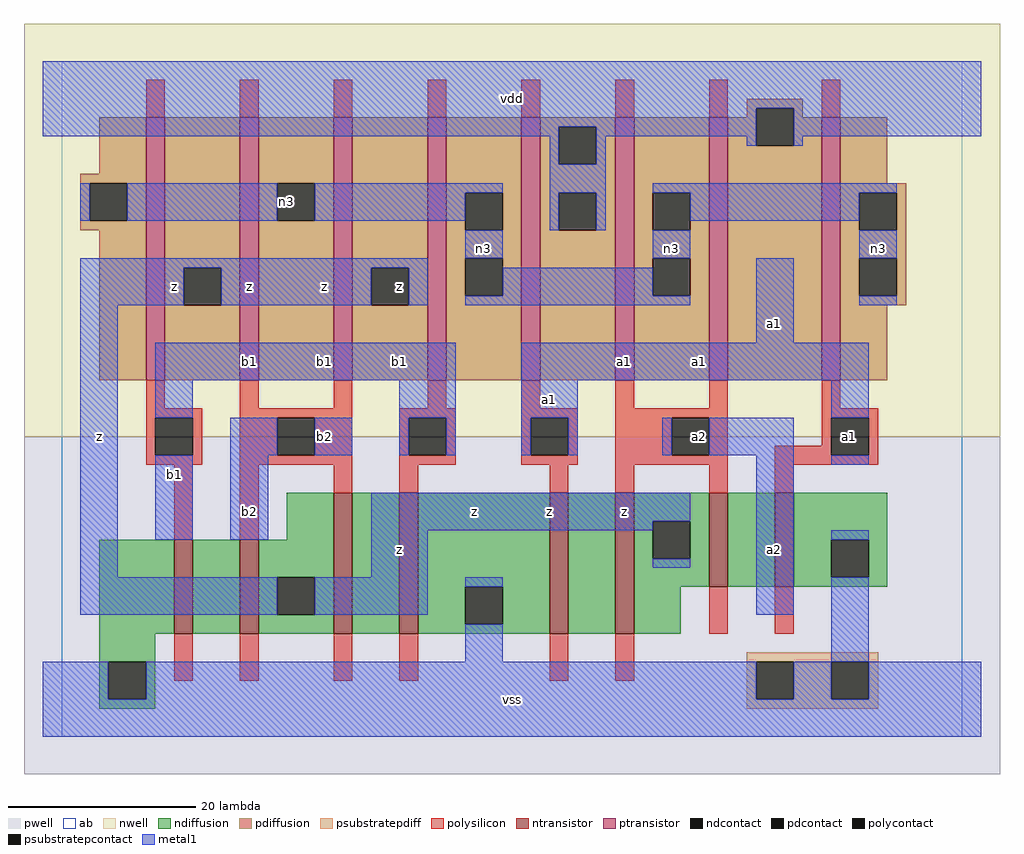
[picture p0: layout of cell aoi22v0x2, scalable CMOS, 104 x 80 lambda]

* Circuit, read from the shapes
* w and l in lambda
.subckt aoi22v0x2 a1 a2 b1 b2 n3 vdd vss z
M1 n1 b1 vss vss nfet w=10 l=2
M2 z b2 n1 vss nfet w=10 l=2
M3 n2 b2 z vss nfet w=15 l=2
M4 vss b1 n2 vss nfet w=15 l=2
M5 n4 a1 vss vss nfet w=15 l=2
M6 z a2 n4 vss nfet w=15 l=2
M7 n5 a2 z vss nfet w=10 l=2
M8 vss a1 n5 vss nfet w=10 l=2
M9 z b1 n3 n6 pfet w=28 l=2 m=2
M10 n3 b2 z n6 pfet w=28 l=2 m=2
M11 vdd a1 n3 n6 pfet w=28 l=2 m=2
M12 n3 a2 vdd n6 pfet w=28 l=2 m=2
.ends

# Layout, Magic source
magic
tech scmos
<< ab >>
rect 0 0 96 72
<< pwell >>
rect -4 -4 100 32
<< nwell >>
rect -4 32 100 76
<< polysilicon >>
rect 9 66 11 70
rect 19 66 21 70
rect 29 66 31 70
rect 39 66 41 70
rect 49 66 51 70
rect 59 66 61 70
rect 69 66 71 70
rect 81 66 83 70
rect 9 35 11 38
rect 19 35 21 38
rect 29 35 31 38
rect 39 35 41 38
rect 49 35 51 38
rect 59 35 61 38
rect 69 35 71 38
rect 9 34 15 35
rect 9 30 10 34
rect 14 30 15 34
rect 9 29 15 30
rect 19 34 31 35
rect 19 30 23 34
rect 27 30 31 34
rect 19 29 31 30
rect 12 21 14 29
rect 19 21 21 29
rect 29 26 31 29
rect 36 34 42 35
rect 36 30 37 34
rect 41 30 42 34
rect 36 29 42 30
rect 49 34 55 35
rect 49 30 50 34
rect 54 30 55 34
rect 49 29 55 30
rect 59 34 71 35
rect 59 30 65 34
rect 69 30 71 34
rect 81 35 83 38
rect 81 34 87 35
rect 81 31 82 34
rect 59 29 71 30
rect 36 26 38 29
rect 52 26 54 29
rect 59 26 61 29
rect 69 26 71 29
rect 76 30 82 31
rect 86 30 87 34
rect 76 29 87 30
rect 76 26 78 29
rect 69 11 71 16
rect 76 11 78 16
rect 12 6 14 11
rect 19 6 21 11
rect 29 6 31 11
rect 36 6 38 11
rect 52 6 54 11
rect 59 6 61 11
<< ndiffusion >>
rect 24 21 29 26
rect 4 11 12 21
rect 14 11 19 21
rect 21 17 29 21
rect 21 13 23 17
rect 27 13 29 17
rect 21 11 29 13
rect 31 11 36 26
rect 38 16 52 26
rect 38 12 43 16
rect 47 12 52 16
rect 38 11 52 12
rect 54 11 59 26
rect 61 23 69 26
rect 61 19 63 23
rect 67 19 69 23
rect 61 16 69 19
rect 71 16 76 26
rect 78 21 88 26
rect 78 17 82 21
rect 86 17 88 21
rect 78 16 88 17
rect 61 11 66 16
rect 4 8 10 11
rect 4 4 5 8
rect 9 4 10 8
rect 4 3 10 4
<< pdiffusion >>
rect 73 67 79 68
rect 73 66 74 67
rect 4 60 9 66
rect 2 59 9 60
rect 2 55 3 59
rect 7 55 9 59
rect 2 54 9 55
rect 4 38 9 54
rect 11 50 19 66
rect 11 46 13 50
rect 17 46 19 50
rect 11 38 19 46
rect 21 59 29 66
rect 21 55 23 59
rect 27 55 29 59
rect 21 38 29 55
rect 31 50 39 66
rect 31 46 33 50
rect 37 46 39 50
rect 31 38 39 46
rect 41 58 49 66
rect 41 54 43 58
rect 47 54 49 58
rect 41 51 49 54
rect 41 47 43 51
rect 47 47 49 51
rect 41 38 49 47
rect 51 65 59 66
rect 51 61 53 65
rect 57 61 59 65
rect 51 58 59 61
rect 51 54 53 58
rect 57 54 59 58
rect 51 38 59 54
rect 61 58 69 66
rect 61 54 63 58
rect 67 54 69 58
rect 61 51 69 54
rect 61 47 63 51
rect 67 47 69 51
rect 61 38 69 47
rect 71 63 74 66
rect 78 66 79 67
rect 78 63 81 66
rect 71 38 81 63
rect 83 59 88 66
rect 83 58 90 59
rect 83 54 85 58
rect 89 54 90 58
rect 83 51 90 54
rect 83 47 85 51
rect 89 47 90 51
rect 83 46 90 47
rect 83 38 88 46
<< metal1 >>
rect -2 67 98 72
rect -2 65 74 67
rect -2 64 53 65
rect 52 61 53 64
rect 57 64 74 65
rect 57 61 58 64
rect 73 63 74 64
rect 78 64 98 67
rect 78 63 79 64
rect 2 55 3 59
rect 7 55 23 59
rect 27 58 47 59
rect 27 55 43 58
rect 52 58 58 61
rect 52 54 53 58
rect 57 54 58 58
rect 63 58 89 59
rect 67 55 85 58
rect 43 51 47 54
rect 2 50 39 51
rect 2 46 13 50
rect 17 46 33 50
rect 37 46 39 50
rect 63 51 67 54
rect 85 51 89 54
rect 47 47 63 50
rect 43 46 67 47
rect 2 17 6 46
rect 74 42 78 51
rect 85 46 89 47
rect 10 38 42 42
rect 10 34 14 38
rect 36 34 42 38
rect 10 21 14 30
rect 18 30 23 34
rect 27 30 31 34
rect 36 30 37 34
rect 41 30 42 34
rect 49 38 86 42
rect 49 34 55 38
rect 82 34 86 38
rect 49 30 50 34
rect 54 30 55 34
rect 64 30 65 34
rect 69 30 78 34
rect 18 21 22 30
rect 33 23 67 26
rect 33 22 63 23
rect 33 17 39 22
rect 63 18 67 19
rect 2 13 23 17
rect 27 13 39 17
rect 43 16 47 17
rect 74 13 78 30
rect 82 29 86 30
rect 82 21 86 22
rect 43 8 47 12
rect 82 8 86 17
rect -2 4 5 8
rect 9 4 74 8
rect 78 4 82 8
rect 86 4 98 8
rect -2 0 98 4
<< ntransistor >>
rect 12 11 14 21
rect 19 11 21 21
rect 29 11 31 26
rect 36 11 38 26
rect 52 11 54 26
rect 59 11 61 26
rect 69 16 71 26
rect 76 16 78 26
<< ptransistor >>
rect 9 38 11 66
rect 19 38 21 66
rect 29 38 31 66
rect 39 38 41 66
rect 49 38 51 66
rect 59 38 61 66
rect 69 38 71 66
rect 81 38 83 66
<< polycontact >>
rect 10 30 14 34
rect 23 30 27 34
rect 37 30 41 34
rect 50 30 54 34
rect 65 30 69 34
rect 82 30 86 34
<< ndcontact >>
rect 23 13 27 17
rect 43 12 47 16
rect 63 19 67 23
rect 82 17 86 21
rect 5 4 9 8
<< pdcontact >>
rect 3 55 7 59
rect 13 46 17 50
rect 23 55 27 59
rect 33 46 37 50
rect 43 54 47 58
rect 43 47 47 51
rect 53 61 57 65
rect 53 54 57 58
rect 63 54 67 58
rect 63 47 67 51
rect 74 63 78 67
rect 85 54 89 58
rect 85 47 89 51
<< psubstratepcontact >>
rect 74 4 78 8
rect 82 4 86 8
<< psubstratepdiff >>
rect 73 8 87 9
rect 73 4 74 8
rect 78 4 82 8
rect 86 4 87 8
rect 73 3 87 4
<< labels >>
rlabel metal1 12 28 12 28 6 b1
rlabel metal1 4 32 4 32 6 z
rlabel metal1 12 48 12 48 6 z
rlabel metal1 20 24 20 24 6 b2
rlabel metal1 28 32 28 32 6 b2
rlabel metal1 20 40 20 40 6 b1
rlabel metal1 28 40 28 40 6 b1
rlabel metal1 20 48 20 48 6 z
rlabel metal1 28 48 28 48 6 z
rlabel metal1 48 4 48 4 6 vss
rlabel metal1 36 20 36 20 6 z
rlabel metal1 44 24 44 24 6 z
rlabel metal1 52 24 52 24 6 z
rlabel metal1 36 40 36 40 6 b1
rlabel metal1 52 36 52 36 6 a1
rlabel pdcontact 36 48 36 48 6 z
rlabel metal1 45 52 45 52 6 n3
rlabel pdcontact 24 57 24 57 6 n3
rlabel metal1 48 68 48 68 6 vdd
rlabel metal1 60 24 60 24 6 z
rlabel metal1 76 20 76 20 6 a2
rlabel polycontact 68 32 68 32 6 a2
rlabel metal1 60 40 60 40 6 a1
rlabel metal1 68 40 68 40 6 a1
rlabel metal1 76 44 76 44 6 a1
rlabel metal1 65 52 65 52 6 n3
rlabel polycontact 84 32 84 32 6 a1
rlabel metal1 87 52 87 52 6 n3
<< end >>
